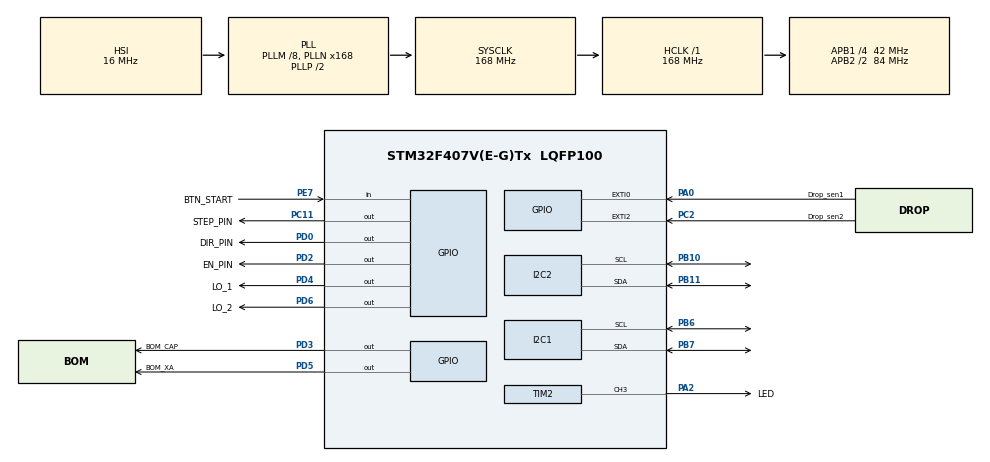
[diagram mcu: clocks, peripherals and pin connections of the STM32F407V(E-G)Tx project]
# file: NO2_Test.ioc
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I2C1.I2C_Mode=I2C_Standard
I2C2.I2C_Mode=I2C_Standard
Mcu.Family=STM32F4
Mcu.Name=STM32F407V(E-G)Tx
Mcu.Package=LQFP100
NVIC.EXTI0_IRQn=true\:2\:0\:false\:false\:true\:true\:true\:true
NVIC.EXTI2_IRQn=true\:2\:0\:false\:false\:true\:true\:true\:true
NVIC.PriorityGroup=NVIC_PRIORITYGROUP_4
NVIC.TIM6_DAC_IRQn=true\:2\:0\:false\:false\:true\:true\:true\:true
PA0-WKUP.GPIO_Label=Drop_sen1
PA0-WKUP.GPIO_ModeDefaultEXTI=GPIO_MODE_IT_FALLING
PA0-WKUP.GPIO_PuPd=GPIO_PULLUP
PA0-WKUP.Signal=GPXTI0
PA13.Mode=Serial_Wire
PA13.Signal=SYS_JTMS-SWDIO
PA14.Mode=Serial_Wire
PA14.Signal=SYS_JTCK-SWCLK
PA2.GPIO_Label=LED
PA2.Signal=S_TIM2_CH3
PB10.Mode=I2C
PB10.Signal=I2C2_SCL
PB11.Mode=I2C
PB11.Signal=I2C2_SDA
PB6.Mode=I2C
PB6.Signal=I2C1_SCL
PB7.Mode=I2C
PB7.Signal=I2C1_SDA
PC11.GPIO_Label=STEP_PIN
PC11.Signal=GPIO_Output
PC2.GPIO_Label=Drop_sen2
PC2.GPIO_ModeDefaultEXTI=GPIO_MODE_IT_FALLING
PC2.GPIO_PuPd=GPIO_PULLUP
PC2.Signal=GPXTI2
PD0.GPIO_Label=DIR_PIN
PD0.Signal=GPIO_Output
PD2.GPIO_Label=EN_PIN
PD2.PinState=GPIO_PIN_SET
PD2.Signal=GPIO_Output
PD3.GPIO_Label=BOM_CAP
PD3.PinState=GPIO_PIN_RESET
PD3.Signal=GPIO_Output
PD4.GPIO_Label=LO_1
PD4.PinState=GPIO_PIN_RESET
PD4.Signal=GPIO_Output
PD5.GPIO_Label=BOM_XA
PD5.PinState=GPIO_PIN_RESET
PD5.Signal=GPIO_Output
PD6.GPIO_Label=LO_2
PD6.PinState=GPIO_PIN_RESET
PD6.Signal=GPIO_Output
PE7.GPIO_Label=BTN_START
PE7.GPIO_PuPd=GPIO_PULLUP
PE7.Signal=GPIO_Input
PH0-OSC_IN.Mode=HSE-External-Oscillator
PH0-OSC_IN.Signal=RCC_OSC_IN
PH1-OSC_OUT.Mode=HSE-External-Oscillator
PH1-OSC_OUT.Signal=RCC_OSC_OUT
ProjectManager.HeapSize=0x200
ProjectManager.StackSize=0x400
ProjectManager.TargetToolchain=STM32CubeIDE
RCC.48MHZClocksFreq_Value=84000000
RCC.AHBFreq_Value=168000000
RCC.APB1CLKDivider=RCC_HCLK_DIV4
RCC.APB1Freq_Value=42000000
RCC.APB1TimFreq_Value=84000000
RCC.APB2CLKDivider=RCC_HCLK_DIV2
RCC.APB2Freq_Value=84000000
RCC.APB2TimFreq_Value=168000000
RCC.CortexFreq_Value=168000000
RCC.HCLKFreq_Value=168000000
RCC.HSE_VALUE=25000000
RCC.HSI_VALUE=16000000
RCC.LSE_VALUE=32768
RCC.PLLM=8
RCC.PLLN=168
RCC.SYSCLKFreq_VALUE=168000000
RCC.SYSCLKSource=RCC_SYSCLKSOURCE_PLLCLK
RCC.VCOOutputFreq_Value=336000000
SH.S_TIM2_CH3.0=TIM2_CH3,PWM Generation3 CH3
TIM2.Channel-PWM\ Generation3\ CH3=TIM_CHANNEL_3
TIM2.Period=100 - 1
TIM2.Prescaler=84 - 1
TIM6.Period=1000 - 1
TIM6.Prescaler=84 - 1
VP_IWDG_VS_IWDG.Mode=IWDG_Activate
VP_TIM2_VS_ClockSourceINT.Mode=Internal
VP_TIM6_VS_ClockSourceINT.Mode=Enable_Timer
board=custom

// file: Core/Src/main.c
/* USER CODE BEGIN Header */
/**
  ******************************************************************************
  * @file           : main.c
  * @brief          : Main program body
  ******************************************************************************
  * @attention
  *
  * Copyright (c) 2026 STMicroelectronics.
  * All rights reserved.
  *
  * This software is licensed under terms that can be found in the LICENSE file
  * in the root directory of this software component.
  * If no LICENSE file comes with this software, it is provided AS-IS.
  *
  ******************************************************************************
  */
/* USER CODE END Header */
#include "main.h"

/* USER CODE BEGIN Includes */
#include "app_main.h"
#include "app_test.h"
#include "app_test_as7341.h"
#include "module_fluidics.h"  // Cần để gọi Pump_Peristaltic_TIM6_Callback
/* USER CODE END Includes */

I2C_HandleTypeDef hi2c1;
I2C_HandleTypeDef hi2c2;

IWDG_HandleTypeDef hiwdg;

TIM_HandleTypeDef htim2;
TIM_HandleTypeDef htim6;

void SystemClock_Config(void);
static void MX_GPIO_Init(void);
static void MX_I2C1_Init(void);
static void MX_I2C2_Init(void);
static void MX_TIM2_Init(void);
static void MX_TIM6_Init(void);
static void MX_IWDG_Init(void);
/* USER CODE BEGIN PFP */
static void MX_IWDG_Init(void);
/* USER CODE END PFP */

int main(void)
{

  /* MCU Configuration--------------------------------------------------------*/

  /* Reset of all peripherals, Initializes the Flash interface and the Systick. */
  HAL_Init();

  /* Configure the system clock */
  SystemClock_Config();

  /* Initialize all configured peripherals */
  MX_GPIO_Init();
  MX_I2C1_Init();
  MX_I2C2_Init();
  MX_TIM2_Init();
  MX_TIM6_Init();
  MX_IWDG_Init();
  /* USER CODE BEGIN 2 */
  // Bật TIM6 interrupt (tick 1ms) cho engine software PWM bơm nhu động
  HAL_TIM_Base_Start_IT(&htim6);

  // Bật TIM2 CH3 PWM (PA2, 10kHz) cho LED đo màu — khởi đầu duty = 0 (tắt)
  HAL_TIM_PWM_Start(&htim2, TIM_CHANNEL_3);

  // Khởi tạo IWDG Watchdog
#ifndef DEBUG
  MX_IWDG_Init();
#endif

  // Uncomment MỘT TRONG CÁC dòng dưới đây để chuyển sang luồng Test tương ứng
  //#define USE_TEST_APP
  //#define USE_TEST_AS7341_APP

#if defined(USE_TEST_AS7341_APP)
  Test_AS7341_App();
#elif defined(USE_TEST_APP)
  Test_App();
#else
  Main_App();
#endif
  /* USER CODE END 2 */

  /* Infinite loop */
  while (1)
  {

  }
}

void SystemClock_Config(void)
{
  RCC_OscInitTypeDef RCC_OscInitStruct = {0};
  RCC_ClkInitTypeDef RCC_ClkInitStruct = {0};

  /** Configure the main internal regulator output voltage
  */
  __HAL_RCC_PWR_CLK_ENABLE();
  __HAL_PWR_VOLTAGESCALING_CONFIG(PWR_REGULATOR_VOLTAGE_SCALE1);

  /** Initializes the RCC Oscillators according to the specified parameters
  * in the RCC_OscInitTypeDef structure.
  */
  RCC_OscInitStruct.OscillatorType = RCC_OSCILLATORTYPE_HSI|RCC_OSCILLATORTYPE_LSI;
  RCC_OscInitStruct.HSIState = RCC_HSI_ON;
  RCC_OscInitStruct.HSICalibrationValue = RCC_HSICALIBRATION_DEFAULT;
  RCC_OscInitStruct.LSIState = RCC_LSI_ON;
  RCC_OscInitStruct.PLL.PLLState = RCC_PLL_ON;
  RCC_OscInitStruct.PLL.PLLSource = RCC_PLLSOURCE_HSI;
  RCC_OscInitStruct.PLL.PLLM = 8;
  RCC_OscInitStruct.PLL.PLLN = 168;
  RCC_OscInitStruct.PLL.PLLP = RCC_PLLP_DIV2;
  RCC_OscInitStruct.PLL.PLLQ = 4;
  if (HAL_RCC_OscConfig(&RCC_OscInitStruct) != HAL_OK)
  {
    Error_Handler();
  }

  /** Initializes the CPU, AHB and APB buses clocks
  */
  RCC_ClkInitStruct.ClockType = RCC_CLOCKTYPE_HCLK|RCC_CLOCKTYPE_SYSCLK
                              |RCC_CLOCKTYPE_PCLK1|RCC_CLOCKTYPE_PCLK2;
  RCC_ClkInitStruct.SYSCLKSource = RCC_SYSCLKSOURCE_PLLCLK;
  RCC_ClkInitStruct.AHBCLKDivider = RCC_SYSCLK_DIV1;
  RCC_ClkInitStruct.APB1CLKDivider = RCC_HCLK_DIV4;
  RCC_ClkInitStruct.APB2CLKDivider = RCC_HCLK_DIV2;

  if (HAL_RCC_ClockConfig(&RCC_ClkInitStruct, FLASH_LATENCY_5) != HAL_OK)
  {
    Error_Handler();
  }
}

static void MX_I2C1_Init(void)
{

  hi2c1.Instance = I2C1;
  hi2c1.Init.ClockSpeed = 100000;
  hi2c1.Init.DutyCycle = I2C_DUTYCYCLE_2;
  hi2c1.Init.OwnAddress1 = 0;
  hi2c1.Init.AddressingMode = I2C_ADDRESSINGMODE_7BIT;
  hi2c1.Init.DualAddressMode = I2C_DUALADDRESS_DISABLE;
  hi2c1.Init.OwnAddress2 = 0;
  hi2c1.Init.GeneralCallMode = I2C_GENERALCALL_DISABLE;
  hi2c1.Init.NoStretchMode = I2C_NOSTRETCH_DISABLE;
  if (HAL_I2C_Init(&hi2c1) != HAL_OK)
  {
    Error_Handler();
  }

}

static void MX_I2C2_Init(void)
{

  hi2c2.Instance = I2C2;
  hi2c2.Init.ClockSpeed = 100000;
  hi2c2.Init.DutyCycle = I2C_DUTYCYCLE_2;
  hi2c2.Init.OwnAddress1 = 0;
  hi2c2.Init.AddressingMode = I2C_ADDRESSINGMODE_7BIT;
  hi2c2.Init.DualAddressMode = I2C_DUALADDRESS_DISABLE;
  hi2c2.Init.OwnAddress2 = 0;
  hi2c2.Init.GeneralCallMode = I2C_GENERALCALL_DISABLE;
  hi2c2.Init.NoStretchMode = I2C_NOSTRETCH_DISABLE;
  if (HAL_I2C_Init(&hi2c2) != HAL_OK)
  {
    Error_Handler();
  }

}

static void MX_IWDG_Init(void)
{

  hiwdg.Instance = IWDG;
  hiwdg.Init.Prescaler = IWDG_PRESCALER_4;
  hiwdg.Init.Reload = 4095;
  if (HAL_IWDG_Init(&hiwdg) != HAL_OK)
  {
    Error_Handler();
  }
  /* USER CODE BEGIN IWDG_Init 2 */
  // Ghi đè cấu hình để có timeout 4 giây
  // LSI = 32kHz, Prescaler = 128 → tick = 4ms. Reload = 1000 → 4 giây
  hiwdg.Init.Prescaler = IWDG_PRESCALER_128;
  hiwdg.Init.Reload = 1000;
  if (HAL_IWDG_Init(&hiwdg) != HAL_OK)
  {
    Error_Handler();
  }
  /* USER CODE END IWDG_Init 2 */

}

static void MX_TIM2_Init(void)
{

  TIM_ClockConfigTypeDef sClockSourceConfig = {0};
  TIM_MasterConfigTypeDef sMasterConfig = {0};
  TIM_OC_InitTypeDef sConfigOC = {0};

  htim2.Instance = TIM2;
  htim2.Init.Prescaler = 84 - 1;
  htim2.Init.CounterMode = TIM_COUNTERMODE_UP;
  htim2.Init.Period = 100 - 1;
  htim2.Init.ClockDivision = TIM_CLOCKDIVISION_DIV1;
  htim2.Init.AutoReloadPreload = TIM_AUTORELOAD_PRELOAD_DISABLE;
  if (HAL_TIM_Base_Init(&htim2) != HAL_OK)
  {
    Error_Handler();
  }
  sClockSourceConfig.ClockSource = TIM_CLOCKSOURCE_INTERNAL;
  if (HAL_TIM_ConfigClockSource(&htim2, &sClockSourceConfig) != HAL_OK)
  {
    Error_Handler();
  }
  if (HAL_TIM_PWM_Init(&htim2) != HAL_OK)
  {
    Error_Handler();
  }
  sMasterConfig.MasterOutputTrigger = TIM_TRGO_RESET;
  sMasterConfig.MasterSlaveMode = TIM_MASTERSLAVEMODE_DISABLE;
  if (HAL_TIMEx_MasterConfigSynchronization(&htim2, &sMasterConfig) != HAL_OK)
  {
    Error_Handler();
  }
  sConfigOC.OCMode = TIM_OCMODE_PWM1;
  sConfigOC.Pulse = 0;
  sConfigOC.OCPolarity = TIM_OCPOLARITY_HIGH;
  sConfigOC.OCFastMode = TIM_OCFAST_DISABLE;
  if (HAL_TIM_PWM_ConfigChannel(&htim2, &sConfigOC, TIM_CHANNEL_3) != HAL_OK)
  {
    Error_Handler();
  }
  HAL_TIM_MspPostInit(&htim2);

}

static void MX_TIM6_Init(void)
{

  TIM_MasterConfigTypeDef sMasterConfig = {0};

  htim6.Instance = TIM6;
  htim6.Init.Prescaler = 84 - 1;
  htim6.Init.CounterMode = TIM_COUNTERMODE_UP;
  htim6.Init.Period = 1000 - 1;
  htim6.Init.AutoReloadPreload = TIM_AUTORELOAD_PRELOAD_DISABLE;
  if (HAL_TIM_Base_Init(&htim6) != HAL_OK)
  {
    Error_Handler();
  }
  sMasterConfig.MasterOutputTrigger = TIM_TRGO_RESET;
  sMasterConfig.MasterSlaveMode = TIM_MASTERSLAVEMODE_DISABLE;
  if (HAL_TIMEx_MasterConfigSynchronization(&htim6, &sMasterConfig) != HAL_OK)
  {
    Error_Handler();
  }

}

static void MX_GPIO_Init(void)
{
  GPIO_InitTypeDef GPIO_InitStruct = {0};

  /* GPIO Ports Clock Enable */
  __HAL_RCC_GPIOH_CLK_ENABLE();
  __HAL_RCC_GPIOC_CLK_ENABLE();
  __HAL_RCC_GPIOA_CLK_ENABLE();
  __HAL_RCC_GPIOE_CLK_ENABLE();
  __HAL_RCC_GPIOB_CLK_ENABLE();
  __HAL_RCC_GPIOD_CLK_ENABLE();

  /*Configure GPIO pin Output Level */
  HAL_GPIO_WritePin(STEP_PIN_GPIO_Port, STEP_PIN_Pin, GPIO_PIN_RESET);

  /*Configure GPIO pin Output Level */
  HAL_GPIO_WritePin(GPIOD, DIR_PIN_Pin|BOM_CAP_Pin|LO_1_Pin|BOM_XA_Pin
                          |LO_2_Pin, GPIO_PIN_RESET);

  /*Configure GPIO pin Output Level */
  HAL_GPIO_WritePin(EN_PIN_GPIO_Port, EN_PIN_Pin, GPIO_PIN_SET);

  /*Configure GPIO pin : Drop_sen2_Pin */
  GPIO_InitStruct.Pin = Drop_sen2_Pin;
  GPIO_InitStruct.Mode = GPIO_MODE_IT_FALLING;
  GPIO_InitStruct.Pull = GPIO_PULLUP;
  HAL_GPIO_Init(Drop_sen2_GPIO_Port, &GPIO_InitStruct);

  /*Configure GPIO pin : Drop_sen1_Pin */
  GPIO_InitStruct.Pin = Drop_sen1_Pin;
  GPIO_InitStruct.Mode = GPIO_MODE_IT_FALLING;
  GPIO_InitStruct.Pull = GPIO_PULLUP;
  HAL_GPIO_Init(Drop_sen1_GPIO_Port, &GPIO_InitStruct);

  /*Configure GPIO pin : BTN_START_Pin */
  GPIO_InitStruct.Pin = BTN_START_Pin;
  GPIO_InitStruct.Mode = GPIO_MODE_INPUT;
  GPIO_InitStruct.Pull = GPIO_PULLUP;
  HAL_GPIO_Init(BTN_START_GPIO_Port, &GPIO_InitStruct);

  /*Configure GPIO pin : STEP_PIN_Pin */
  GPIO_InitStruct.Pin = STEP_PIN_Pin;
  GPIO_InitStruct.Mode = GPIO_MODE_OUTPUT_PP;
  GPIO_InitStruct.Pull = GPIO_NOPULL;
  GPIO_InitStruct.Speed = GPIO_SPEED_FREQ_LOW;
  HAL_GPIO_Init(STEP_PIN_GPIO_Port, &GPIO_InitStruct);

  /*Configure GPIO pins : DIR_PIN_Pin EN_PIN_Pin BOM_CAP_Pin LO_1_Pin
                           BOM_XA_Pin LO_2_Pin */
  GPIO_InitStruct.Pin = DIR_PIN_Pin|EN_PIN_Pin|BOM_CAP_Pin|LO_1_Pin
                          |BOM_XA_Pin|LO_2_Pin;
  GPIO_InitStruct.Mode = GPIO_MODE_OUTPUT_PP;
  GPIO_InitStruct.Pull = GPIO_NOPULL;
  GPIO_InitStruct.Speed = GPIO_SPEED_FREQ_LOW;
  HAL_GPIO_Init(GPIOD, &GPIO_InitStruct);

  /* EXTI interrupt init*/
  HAL_NVIC_SetPriority(EXTI0_IRQn, 2, 0);
  HAL_NVIC_EnableIRQ(EXTI0_IRQn);

  HAL_NVIC_SetPriority(EXTI2_IRQn, 2, 0);
  HAL_NVIC_EnableIRQ(EXTI2_IRQn);

/* USER CODE BEGIN MX_GPIO_Init_2 */
  /* AN TOÀN KÉP: Ép tắt tất cả bơm ngay sau khi GPIO init xong.
     Đề phòng CubeMX regenerate đè lại mức khởi tạo ở trên. */
  HAL_GPIO_WritePin(BOM_CAP_GPIO_Port, BOM_CAP_Pin, GPIO_PIN_RESET);
  HAL_GPIO_WritePin(BOM_XA_GPIO_Port,  BOM_XA_Pin,  GPIO_PIN_RESET);
  HAL_GPIO_WritePin(LO_1_GPIO_Port,    LO_1_Pin,    GPIO_PIN_RESET);
  HAL_GPIO_WritePin(LO_2_GPIO_Port,    LO_2_Pin,    GPIO_PIN_RESET);
/* USER CODE END MX_GPIO_Init_2 */
}

/* USER CODE BEGIN 4 */

/**
  * @brief TIM Period Elapsed Callback — gọi mỗi 1ms từ TIM6 interrupt
  *        Đây là nơi engine software PWM bơm nhu động chạy
  */
void HAL_TIM_PeriodElapsedCallback(TIM_HandleTypeDef *htim)
{
    if (htim->Instance == TIM6) {
        Pump_System_TIM6_Callback();
    }
}

/* USER CODE END 4 */

void Error_Handler(void)
{
  __disable_irq();
  while (1)
  {
  }
}
